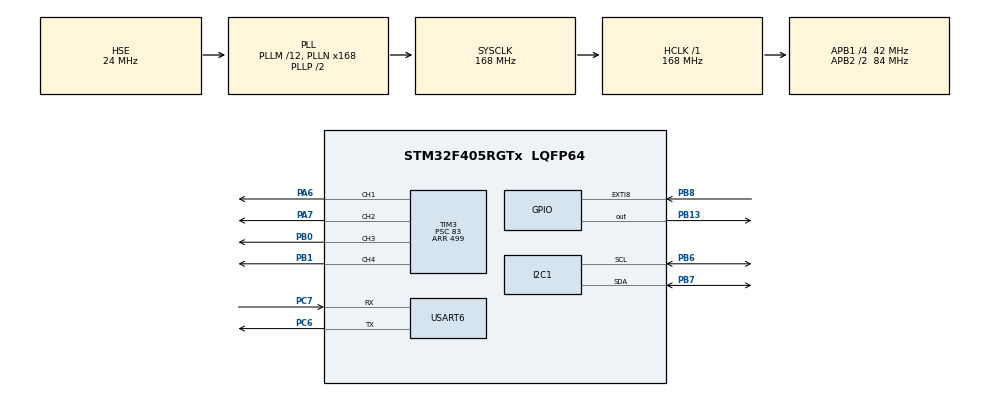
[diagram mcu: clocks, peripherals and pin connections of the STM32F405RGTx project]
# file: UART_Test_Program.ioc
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Mcu.Family=STM32F4
Mcu.Name=STM32F405RGTx
Mcu.Package=LQFP64
NVIC.PriorityGroup=NVIC_PRIORITYGROUP_4
PA13.Mode=Serial_Wire
PA13.Signal=SYS_JTMS-SWDIO
PA14.Mode=Serial_Wire
PA14.Signal=SYS_JTCK-SWCLK
PA6.Signal=S_TIM3_CH1
PA7.Signal=S_TIM3_CH2
PB0.Signal=S_TIM3_CH3
PB1.Signal=S_TIM3_CH4
PB13.Signal=GPIO_Output
PB6.Mode=I2C
PB6.Signal=I2C1_SCL
PB7.Mode=I2C
PB7.Signal=I2C1_SDA
PB8.Signal=GPXTI8
PC6.Mode=Asynchronous
PC6.Signal=USART6_TX
PC7.Mode=Asynchronous
PC7.Signal=USART6_RX
PH0-OSC_IN.Mode=HSE-External-Oscillator
PH0-OSC_IN.Signal=RCC_OSC_IN
PH1-OSC_OUT.Mode=HSE-External-Oscillator
PH1-OSC_OUT.Signal=RCC_OSC_OUT
ProjectManager.HeapSize=0x200
ProjectManager.StackSize=0x400
ProjectManager.TargetToolchain=STM32CubeIDE
RCC.48MHZClocksFreq_Value=84000000
RCC.AHBFreq_Value=168000000
RCC.APB1CLKDivider=RCC_HCLK_DIV4
RCC.APB1Freq_Value=42000000
RCC.APB1TimFreq_Value=84000000
RCC.APB2CLKDivider=RCC_HCLK_DIV2
RCC.APB2Freq_Value=84000000
RCC.APB2TimFreq_Value=168000000
RCC.CortexFreq_Value=168000000
RCC.HCLKFreq_Value=168000000
RCC.HSE_VALUE=24000000
RCC.HSI_VALUE=16000000
RCC.LSE_VALUE=32768
RCC.PLLM=12
RCC.PLLN=168
RCC.PLLSourceVirtual=RCC_PLLSOURCE_HSE
RCC.SYSCLKFreq_VALUE=168000000
RCC.SYSCLKSource=RCC_SYSCLKSOURCE_PLLCLK
RCC.VCOOutputFreq_Value=336000000
SH.S_TIM3_CH1.0=TIM3_CH1,PWM Generation1 CH1
SH.S_TIM3_CH2.0=TIM3_CH2,PWM Generation2 CH2
SH.S_TIM3_CH3.0=TIM3_CH3,PWM Generation3 CH3
SH.S_TIM3_CH4.0=TIM3_CH4,PWM Generation4 CH4
TIM3.Channel-PWM\ Generation1\ CH1=TIM_CHANNEL_1
TIM3.Channel-PWM\ Generation2\ CH2=TIM_CHANNEL_2
TIM3.Channel-PWM\ Generation3\ CH3=TIM_CHANNEL_3
TIM3.Channel-PWM\ Generation4\ CH4=TIM_CHANNEL_4
TIM3.Period=499
TIM3.Prescaler=83
USART6.VirtualMode=VM_ASYNC
VP_TIM3_VS_ClockSourceINT.Mode=Internal
board=custom

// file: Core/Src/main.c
/* USER CODE BEGIN Header */
/**
 *
 * Test program for the UART communication between the STM32 flight controller PCB
 * 		and an ESP32
 *
 * The board should receive a single number at a time from the ESP32 over UART
 * If it receives properly, it should blink the LED for some amount of times
 * If it receives a 1, 2 or 3, it will flash that many times
 * If it receives an 8 it will flash 5 times
 * If it receives a 0 it does nothing
 * If it receives anything else it will stay lit for 2 seconds
 * Between each received instruction it will wait 5 seconds
 * If there's a transmission error it will flash 10 times
 *
 *
  ******************************************************************************
  * @file           : main.c
  * @brief          : Main program body
  ******************************************************************************
  * @attention
  *
  * Copyright (c) 2025 STMicroelectronics.
  * All rights reserved.
  *
  * This software is licensed under terms that can be found in the LICENSE file
  * in the root directory of this software component.
  * If no LICENSE file comes with this software, it is provided AS-IS.
  *
  ******************************************************************************
  */
/* USER CODE END Header */
#include "main.h"

/* USER CODE BEGIN Includes */
#include <stdlib.h> //Used for atoi
#include <string.h> //Used for strcpy

/* USER CODE END Includes */

/* USER CODE BEGIN PD */
#define RECV_SIZE 2 //The size of the buffer to hold received UART data (number of digits)
#define SEND_SIZE 100
/* USER CODE END PD */

I2C_HandleTypeDef hi2c1;

TIM_HandleTypeDef htim3;

UART_HandleTypeDef huart6;

void SystemClock_Config(void);
static void MX_GPIO_Init(void);
static void MX_TIM3_Init(void);
static void MX_I2C1_Init(void);
static void MX_USART6_UART_Init(void);

/* USER CODE BEGIN 0 */
uint8_t RxBuf[RECV_SIZE];
uint8_t TxBuf[SEND_SIZE];
/* USER CODE END 0 */

int main(void)
{

  /* MCU Configuration--------------------------------------------------------*/

  /* Reset of all peripherals, Initializes the Flash interface and the Systick. */
  HAL_Init();

  /* Configure the system clock */
  SystemClock_Config();

  /* Initialize all configured peripherals */
  MX_GPIO_Init();
  MX_TIM3_Init();
  MX_I2C1_Init();
  MX_USART6_UART_Init();
  /* USER CODE BEGIN 2 */
  HAL_GPIO_WritePin(GPIOB, GPIO_PIN_13, GPIO_PIN_RESET); //Make sure LED is initially off
  strcpy((char*)TxBuf,"UART Sending Working\r\n");
  HAL_UART_Transmit(&huart6, TxBuf, strlen((char*)TxBuf), HAL_MAX_DELAY);
  /* USER CODE END 2 */

  /* Infinite loop */
  /* USER CODE BEGIN WHILE */
  while (1)
  {
	  if (HAL_UART_Receive(&huart6, RxBuf, RECV_SIZE, HAL_MAX_DELAY) == HAL_OK)
	  {
		  //If we want to use strings for readability we can change the switch type
		  int command = atoi((const char *)RxBuf); //Cast array to string and convert to number
		  switch(command) { //Do something depending on number
		  	  case 0:
		  		  //action
		  		  break;
		  	  case 1:
		  		  //Flash once
		  		  for (int i = 0; i < 1; i++)
		  		  {
		  			  HAL_GPIO_WritePin(GPIOB, GPIO_PIN_13, GPIO_PIN_SET); //Turn on LED
			  		  HAL_Delay(1000); //Wait 0.5s
			  		  HAL_GPIO_WritePin(GPIOB, GPIO_PIN_13, GPIO_PIN_RESET); //Turn of LED
		  		  }
		  		  break;
		  	  case 2:
		  		//Flash twice
		  		  for (int i = 0; i < 2; i++)
		  		  {
		  			  HAL_GPIO_WritePin(GPIOB, GPIO_PIN_13, GPIO_PIN_SET); //Turn on LED
			  		  HAL_Delay(1000); //Wait 0.5s
			  		  HAL_GPIO_WritePin(GPIOB, GPIO_PIN_13, GPIO_PIN_RESET); //Turn of LED
		  		  }
		  		  break;
		  	  case 3:
		  		//Flash three times
		  		  for (int i = 0; i < 3; i++)
		  		  {
		  			  HAL_GPIO_WritePin(GPIOB, GPIO_PIN_13, GPIO_PIN_SET); //Turn on LED
			  		  HAL_Delay(1000); //Wait 0.5s
			  		  HAL_GPIO_WritePin(GPIOB, GPIO_PIN_13, GPIO_PIN_RESET); //Turn of LED
		  		  }
		  		  break;
		  	  case 8:
		  		//Flash five times
		  		  for (int i = 0; i < 5; i++)
		  		  {
		  			  HAL_GPIO_WritePin(GPIOB, GPIO_PIN_13, GPIO_PIN_SET); //Turn on LED
			  		  HAL_Delay(1000); //Wait 0.5s
			  		  HAL_GPIO_WritePin(GPIOB, GPIO_PIN_13, GPIO_PIN_RESET); //Turn of LED
		  		  }
		  		  break;
		  	  default:
		  		  HAL_GPIO_WritePin(GPIOB, GPIO_PIN_13, GPIO_PIN_SET); //Turn on LED
				  HAL_Delay(4000); //Wait 2s
				  HAL_GPIO_WritePin(GPIOB, GPIO_PIN_13, GPIO_PIN_RESET); //Turn of LED
		  }
	  }
	  else {
  		  for (int i = 0; i < 10; i++)
  		  {
  			  HAL_GPIO_WritePin(GPIOB, GPIO_PIN_13, GPIO_PIN_SET); //Turn on LED
	  		  HAL_Delay(1000); //Wait 0.5s
	  		  HAL_GPIO_WritePin(GPIOB, GPIO_PIN_13, GPIO_PIN_RESET); //Turn of LED
  		  }
	  }
	  HAL_Delay(10000); //Wait 5s
    /* USER CODE END WHILE */

  }
}

void SystemClock_Config(void)
{
  RCC_OscInitTypeDef RCC_OscInitStruct = {0};
  RCC_ClkInitTypeDef RCC_ClkInitStruct = {0};

  /** Configure the main internal regulator output voltage
  */
  __HAL_RCC_PWR_CLK_ENABLE();
  __HAL_PWR_VOLTAGESCALING_CONFIG(PWR_REGULATOR_VOLTAGE_SCALE1);

  /** Initializes the RCC Oscillators according to the specified parameters
  * in the RCC_OscInitTypeDef structure.
  */
  RCC_OscInitStruct.OscillatorType = RCC_OSCILLATORTYPE_HSE;
  RCC_OscInitStruct.HSEState = RCC_HSE_ON;
  RCC_OscInitStruct.PLL.PLLState = RCC_PLL_ON;
  RCC_OscInitStruct.PLL.PLLSource = RCC_PLLSOURCE_HSE;
  RCC_OscInitStruct.PLL.PLLM = 12;
  RCC_OscInitStruct.PLL.PLLN = 168;
  RCC_OscInitStruct.PLL.PLLP = RCC_PLLP_DIV2;
  RCC_OscInitStruct.PLL.PLLQ = 4;
  if (HAL_RCC_OscConfig(&RCC_OscInitStruct) != HAL_OK)
  {
    Error_Handler();
  }

  /** Initializes the CPU, AHB and APB buses clocks
  */
  RCC_ClkInitStruct.ClockType = RCC_CLOCKTYPE_HCLK|RCC_CLOCKTYPE_SYSCLK
                              |RCC_CLOCKTYPE_PCLK1|RCC_CLOCKTYPE_PCLK2;
  RCC_ClkInitStruct.SYSCLKSource = RCC_SYSCLKSOURCE_PLLCLK;
  RCC_ClkInitStruct.AHBCLKDivider = RCC_SYSCLK_DIV1;
  RCC_ClkInitStruct.APB1CLKDivider = RCC_HCLK_DIV4;
  RCC_ClkInitStruct.APB2CLKDivider = RCC_HCLK_DIV2;

  if (HAL_RCC_ClockConfig(&RCC_ClkInitStruct, FLASH_LATENCY_5) != HAL_OK)
  {
    Error_Handler();
  }
}

static void MX_I2C1_Init(void)
{

  hi2c1.Instance = I2C1;
  hi2c1.Init.ClockSpeed = 100000;
  hi2c1.Init.DutyCycle = I2C_DUTYCYCLE_2;
  hi2c1.Init.OwnAddress1 = 0;
  hi2c1.Init.AddressingMode = I2C_ADDRESSINGMODE_7BIT;
  hi2c1.Init.DualAddressMode = I2C_DUALADDRESS_DISABLE;
  hi2c1.Init.OwnAddress2 = 0;
  hi2c1.Init.GeneralCallMode = I2C_GENERALCALL_DISABLE;
  hi2c1.Init.NoStretchMode = I2C_NOSTRETCH_DISABLE;
  if (HAL_I2C_Init(&hi2c1) != HAL_OK)
  {
    Error_Handler();
  }

}

static void MX_TIM3_Init(void)
{

  TIM_ClockConfigTypeDef sClockSourceConfig = {0};
  TIM_MasterConfigTypeDef sMasterConfig = {0};
  TIM_OC_InitTypeDef sConfigOC = {0};

  htim3.Instance = TIM3;
  htim3.Init.Prescaler = 83;
  htim3.Init.CounterMode = TIM_COUNTERMODE_UP;
  htim3.Init.Period = 499;
  htim3.Init.ClockDivision = TIM_CLOCKDIVISION_DIV1;
  htim3.Init.AutoReloadPreload = TIM_AUTORELOAD_PRELOAD_DISABLE;
  if (HAL_TIM_Base_Init(&htim3) != HAL_OK)
  {
    Error_Handler();
  }
  sClockSourceConfig.ClockSource = TIM_CLOCKSOURCE_INTERNAL;
  if (HAL_TIM_ConfigClockSource(&htim3, &sClockSourceConfig) != HAL_OK)
  {
    Error_Handler();
  }
  if (HAL_TIM_PWM_Init(&htim3) != HAL_OK)
  {
    Error_Handler();
  }
  sMasterConfig.MasterOutputTrigger = TIM_TRGO_RESET;
  sMasterConfig.MasterSlaveMode = TIM_MASTERSLAVEMODE_DISABLE;
  if (HAL_TIMEx_MasterConfigSynchronization(&htim3, &sMasterConfig) != HAL_OK)
  {
    Error_Handler();
  }
  sConfigOC.OCMode = TIM_OCMODE_PWM1;
  sConfigOC.Pulse = 0;
  sConfigOC.OCPolarity = TIM_OCPOLARITY_HIGH;
  sConfigOC.OCFastMode = TIM_OCFAST_DISABLE;
  if (HAL_TIM_PWM_ConfigChannel(&htim3, &sConfigOC, TIM_CHANNEL_1) != HAL_OK)
  {
    Error_Handler();
  }
  if (HAL_TIM_PWM_ConfigChannel(&htim3, &sConfigOC, TIM_CHANNEL_2) != HAL_OK)
  {
    Error_Handler();
  }
  if (HAL_TIM_PWM_ConfigChannel(&htim3, &sConfigOC, TIM_CHANNEL_3) != HAL_OK)
  {
    Error_Handler();
  }
  if (HAL_TIM_PWM_ConfigChannel(&htim3, &sConfigOC, TIM_CHANNEL_4) != HAL_OK)
  {
    Error_Handler();
  }
  HAL_TIM_MspPostInit(&htim3);

}

static void MX_USART6_UART_Init(void)
{

  huart6.Instance = USART6;
  huart6.Init.BaudRate = 115200;
  huart6.Init.WordLength = UART_WORDLENGTH_8B;
  huart6.Init.StopBits = UART_STOPBITS_1;
  huart6.Init.Parity = UART_PARITY_NONE;
  huart6.Init.Mode = UART_MODE_TX_RX;
  huart6.Init.HwFlowCtl = UART_HWCONTROL_NONE;
  huart6.Init.OverSampling = UART_OVERSAMPLING_16;
  if (HAL_UART_Init(&huart6) != HAL_OK)
  {
    Error_Handler();
  }

}

static void MX_GPIO_Init(void)
{
  GPIO_InitTypeDef GPIO_InitStruct = {0};

  /* GPIO Ports Clock Enable */
  __HAL_RCC_GPIOH_CLK_ENABLE();
  __HAL_RCC_GPIOA_CLK_ENABLE();
  __HAL_RCC_GPIOB_CLK_ENABLE();
  __HAL_RCC_GPIOC_CLK_ENABLE();

  /*Configure GPIO pin Output Level */
  HAL_GPIO_WritePin(GPIOB, GPIO_PIN_13, GPIO_PIN_RESET);

  /*Configure GPIO pin : PB13 */
  GPIO_InitStruct.Pin = GPIO_PIN_13;
  GPIO_InitStruct.Mode = GPIO_MODE_OUTPUT_PP;
  GPIO_InitStruct.Pull = GPIO_NOPULL;
  GPIO_InitStruct.Speed = GPIO_SPEED_FREQ_LOW;
  HAL_GPIO_Init(GPIOB, &GPIO_InitStruct);

  /*Configure GPIO pin : PB8 */
  GPIO_InitStruct.Pin = GPIO_PIN_8;
  GPIO_InitStruct.Mode = GPIO_MODE_IT_RISING;
  GPIO_InitStruct.Pull = GPIO_NOPULL;
  HAL_GPIO_Init(GPIOB, &GPIO_InitStruct);

}

void Error_Handler(void)
{
  __disable_irq();
  while (1)
  {
  }
}
